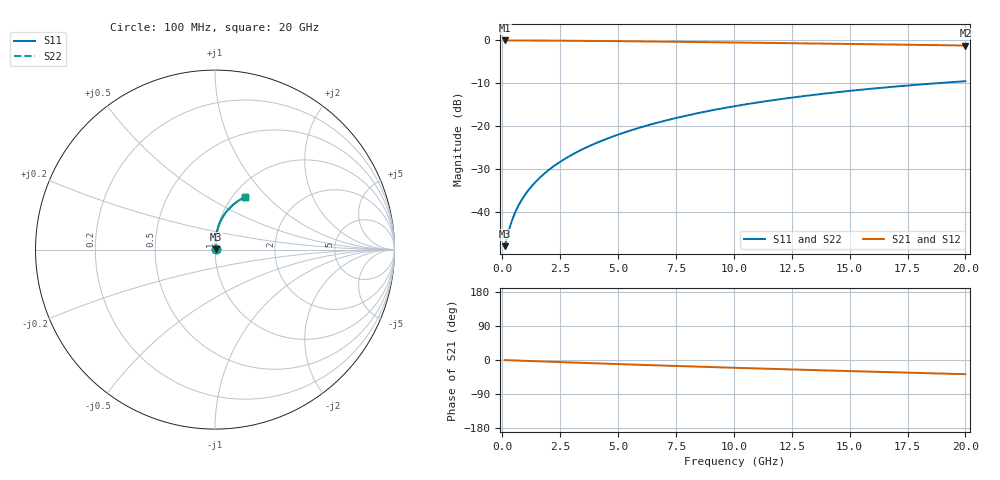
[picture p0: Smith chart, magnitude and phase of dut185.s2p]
! Touchstone file exported from HFSS 2024.1.0
!  File:  C:/UserFiles/LocalFiles/RDL_TSV_Batchsim/temp_RDL_top_185_1778686401.aedt
!  Generated:  11:35:45 PM May 13, 2026
!  Design:  RDL_top
!  Project:  temp_RDL_top_185_1778686401
!  Setup:  Setup1
!  Solution:  Sweep
! Variables:
!  dtsv = 10.80580581um
!  hbump = 3um
!  htsv = 80.84um
!  ldown = 100um
!  lrdl = 521.09um
!  p = 40
!  p1 = 48.73um
!  rhole = 1um
!  t = 450um
!  tdown = 3.915915916um
!  trdl = 2.31um
!  wdown = 15.38538539um
!  wrdl = 23.77um
# GHz S MA R 50.000000
! Terminal data exported
! Port[1] = Box2_T1
! Port[2] = Box2_T2
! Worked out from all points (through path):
!   200 points, 100 MHz to 20 GHz, reference 50 ohm
!   highest |S21| = -0.03 dB at 100 MHz (marker M1); lowest = -1.2 dB at 20 GHz (marker M2)
!   group delay of S21, straight-line fit = 5.16 ps
!   lowest |S11| = -47.8 dB at 100 MHz (marker M3), VSWR 1.01, Z = 50.4 + j0.175 ohm
!   |S11| at or under -10 dB: start of sweep to 18.68 GHz
!   |S22| runs from -47.8 to -9.5 dB; largest |S21 - S12| = 3.2e-15
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0.1  0.004061 25.2  0.9963 -0.2  0.9963 -0.2  0.004061 25.2
! Gamma 0 0 0 0
! Port Impedance 50 0 50 0
0.3  0.006412 52.2  0.996 -0.7  0.996 -0.7  0.006412 52.2
0.4  0.007804 58.4  0.9958 -0.9  0.9958 -0.9  0.007804 58.4
0.5  0.009217 62.7  0.9956 -1.2  0.9956 -1.2  0.009217 62.7
0.6  0.01063 65.8  0.9954 -1.4  0.9954 -1.4  0.01063 65.8
0.7  0.01205 68.2  0.9951 -1.6  0.9951 -1.6  0.01205 68.2
0.9  0.01489 71.9  0.9947 -2.0  0.9947 -2.0  0.01489 71.9
1.2  0.0192 75.6  0.9941 -2.7  0.9941 -2.7  0.0192 75.6
1.7  0.02657 79.4  0.9929 -3.8  0.9929 -3.8  0.02657 79.3
2.2  0.03416 81.5  0.9914 -4.9  0.9914 -4.9  0.03416 81.5
2.8  0.04354 83.1  0.9892 -6.2  0.9892 -6.2  0.04353 83.1
3.5  0.05484 84.0  0.9862 -7.7  0.9862 -7.7  0.05482 84.0
4.2  0.06651 84.4  0.9827 -9.2  0.9827 -9.2  0.06648 84.3
5  0.08025 84.3  0.9782 -10.8  0.9782 -10.8  0.0802 84.3
5.9  0.09614 83.8  0.9727 -12.6  0.9727 -12.6  0.09607 83.7
6.8  0.1124 82.9  0.9668 -14.4  0.9668 -14.4  0.1123 82.8
8.4  0.1417 80.7  0.9558 -17.5  0.9558 -17.5  0.1416 80.7
10.1  0.1729 78.0  0.9437 -20.7  0.9437 -20.7  0.1727 77.9
11.7  0.2018 75.2  0.932 -23.6  0.932 -23.6  0.2016 75.1
13.4  0.2316 72.1  0.9194 -26.6  0.9194 -26.6  0.2314 72.1
16.7  0.2861 66.2  0.8948 -32.1  0.8948 -32.1  0.2857 66.1
20  0.3352 60.5  0.8702 -37.4  0.8702 -37.4  0.3347 60.5
